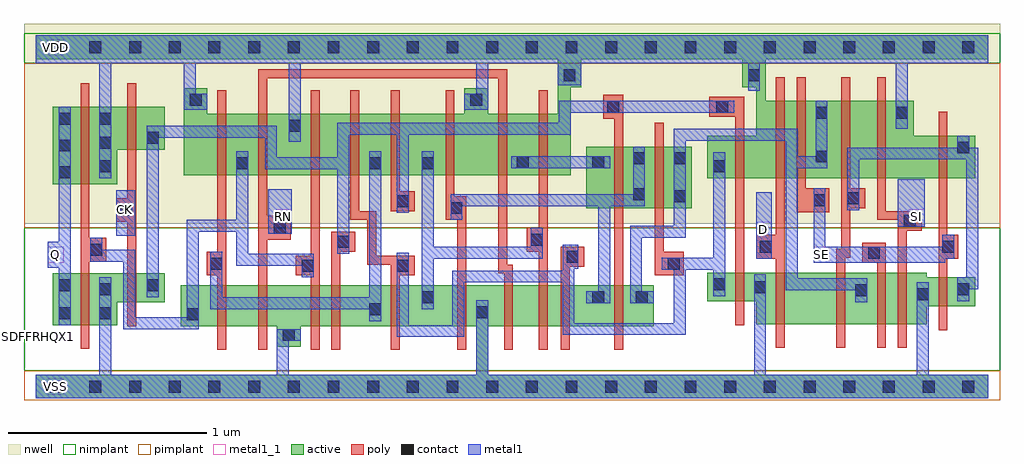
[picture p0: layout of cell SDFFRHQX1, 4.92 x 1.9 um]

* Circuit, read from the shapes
.subckt SDFFRHQX1 CK D Q RN SE SI VDD VSS
M1 VSS n1 Q VSS nfet w=0.26u l=0.045u
M2 n2 CK VSS VSS nfet w=0.145u l=0.045u
M3 n3 n4 n1 VSS nfet w=0.205u l=0.045u
M4 VSS RN n3 VSS nfet w=0.205u l=0.045u
M5 n5 n1 VSS VSS nfet w=0.205u l=0.045u
M6 n4 n2 n5 VSS nfet w=0.205u l=0.045u
M7 n6 n7 n4 VSS nfet w=0.205u l=0.045u
M8 VSS n8 n6 VSS nfet w=0.205u l=0.045u
M9 n9 RN VSS VSS nfet w=0.205u l=0.045u
M10 n10 n6 n9 VSS nfet w=0.205u l=0.045u
M11 n8 n7 n10 VSS nfet w=0.205u l=0.045u
M12 n11 n2 n8 VSS nfet w=0.205u l=0.045u
M13 VSS n2 n7 VSS nfet w=0.145u l=0.045u
M14 n12 D VSS VSS nfet w=0.26u l=0.045u
M15 n11 n13 n12 VSS nfet w=0.26u l=0.045u
M16 n14 SE n11 VSS nfet w=0.26u l=0.045u
M17 VSS SI n14 VSS nfet w=0.26u l=0.045u
M18 n13 SE VSS VSS nfet w=0.145u l=0.045u
M19 VDD n1 Q VDD pfet w=0.39u l=0.045u
M20 n2 CK VDD VDD pfet w=0.215u l=0.045u
M21 n1 n4 VDD VDD pfet w=0.31u l=0.045u
M22 VDD RN n1 VDD pfet w=0.31u l=0.045u
M23 n15 n1 VDD VDD pfet w=0.31u l=0.045u
M24 n4 n7 n15 VDD pfet w=0.31u l=0.045u
M25 n6 n2 n4 VDD pfet w=0.31u l=0.045u
M26 VDD n8 n6 VDD pfet w=0.31u l=0.045u
M27 n16 RN VDD VDD pfet w=0.31u l=0.045u
M28 VDD n6 n16 VDD pfet w=0.31u l=0.045u
M29 n8 n2 n16 VDD pfet w=0.31u l=0.045u
M30 n11 n7 n8 VDD pfet w=0.31u l=0.045u
M31 VDD n2 n7 VDD pfet w=0.215u l=0.045u
M32 n17 D VDD VDD pfet w=0.39u l=0.045u
M33 n11 SE n17 VDD pfet w=0.39u l=0.045u
M34 n18 n13 n11 VDD pfet w=0.39u l=0.045u
M35 VDD SI n18 VDD pfet w=0.39u l=0.045u
M36 n13 SE VDD VDD pfet w=0.215u l=0.045u
.ends

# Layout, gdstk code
import gdstk
lib = gdstk.Library(unit=1e-6, precision=5e-10)
def R(c, l, rs):  # rectangles x0, y0, x1, y1
    for r in rs: c.add(gdstk.rectangle(r[:2], r[2:], *l))
def A(c, l, x, y, w, h, nx, ny, dx, dy):  # array of equal rectangles
    R(c, l, [(x+i*dx, y+j*dy, x+i*dx+w, y+j*dy+h) for i in range(nx) for j in range(ny)])
def P(c, l, *ps):  # polygons
    for p in ps: c.add(gdstk.Polygon(p, *l))
active = (1, 0)
nwell = (2, 0)
poly = (3, 0)
nimplant = (4, 0)
pimplant = (5, 0)
contact = (6, 0)
metal1 = (7, 0)
metal1_1 = (7, 1)

sdffrhqx1 = lib.new_cell('SDFFRHQX1')
R(sdffrhqx1, active, [(2.775,0.9,3.305,1.21)])
P(sdffrhqx1, active, [(4.8,0.06),(2.28,0.06),(2.28,0.305),(3.115,0.305),(3.115,0.51),(0.73,0.51),(0.73,0.305),(1.215,0.305),(1.215,0.2),(1.335,0.2),(1.335,0.305),(2.22,0.305),(2.22,0.06),(0,0.06),(0,-0.06),(4.8,-0.06)],
  [(4.8,1.77),(0,1.77),(0,1.65),(2.63,1.65),(2.63,1.375),(2.28,1.375),(2.28,1.505),(2.16,1.505),(2.16,1.375),(0.865,1.375),(0.865,1.505),(0.745,1.505),(0.745,1.065),(2.695,1.065),(2.695,1.51),(2.75,1.51),(2.75,1.65),(3.56,1.65),(3.56,1.51),(3.63,1.51),(3.63,1.265),(3.385,1.265),(3.385,1.05),(4.735,1.05),(4.735,1.265),(4.425,1.265),(4.425,1.44),(3.68,1.44),(3.68,1.65),(4.8,1.65)],
  [(4.735,0.55),(4.49,0.55),(4.49,0.575),(3.385,0.575),(3.385,0.43),(3.63,0.43),(3.63,0.315),(4.49,0.315),(4.49,0.405),(4.735,0.405)],
  [(0.65,0.57),(0.085,0.57),(0.085,0.31),(0.41,0.31),(0.41,0.425),(0.65,0.425)],
  [(0.65,1.41),(0.085,1.41),(0.085,1.02),(0.41,1.02),(0.41,1.195),(0.65,1.195)])
R(sdffrhqx1, nwell, [(-0.06,0.82,4.86,1.83)])
P(sdffrhqx1, poly, [(4.465,0.885),(4.285,0.885),(4.285,1.56),(4.24,1.56),(4.24,0.84),(4.345,0.84),(4.345,0.195),(4.39,0.195),(4.39,0.785),(4.465,0.785)],
  [(4,1),(3.88,1),(3.88,1.56),(3.835,1.56),(3.835,0.88),(4,0.88)],
  [(3.775,1.56),(3.73,1.56),(3.73,0.765),(3.63,0.765),(3.63,0.645),(3.73,0.645),(3.73,0.195),(3.775,0.195)],
  [(4.18,1),(4.105,1),(4.105,1.56),(4.06,1.56),(4.06,0.695),(4.035,0.695),(4.035,0.195),(4.08,0.195),(4.08,0.65),(4.105,0.65),(4.105,0.9),(4.18,0.9)],
  [(3.57,1.46),(3.395,1.46),(3.395,1.36),(3.525,1.36),(3.525,0.31),(3.57,0.31)],
  [(3.265,0.68),(3.165,0.68),(3.165,1.33),(3.12,1.33),(3.12,0.56),(3.265,0.56)],
  [(2.96,1.47),(2.86,1.47),(2.86,1.35),(2.915,1.35),(2.915,0.185),(2.96,0.185)],
  [(4.65,0.765),(4.595,0.765),(4.595,1.385),(4.55,1.385),(4.55,0.285),(4.595,0.285),(4.595,0.645),(4.65,0.645)],
  [(4.285,0.725),(4.165,0.725),(4.165,0.625),(4.24,0.625),(4.24,0.195),(4.285,0.195)],
  [(2.765,0.705),(2.645,0.705),(2.645,0.185),(2.69,0.185),(2.69,0.605),(2.765,0.605)],
  [(2.58,1.495),(2.535,1.495),(2.535,0.8),(2.475,0.8),(2.475,0.68),(2.535,0.68),(2.535,0.185),(2.58,0.185)],
  [(2.405,0.615),(2.375,0.615),(2.375,1.6),(1.12,1.6),(1.12,0.185),(1.165,0.185),(1.165,0.74),(1.285,0.74),(1.285,0.86),(1.165,0.86),(1.165,1.555),(2.33,1.555),(2.33,0.57),(2.36,0.57),(2.36,0.185),(2.405,0.185)],
  [(2.17,0.96),(2.11,0.96),(2.11,1.495),(2.065,1.495),(2.065,0.84),(2.125,0.84),(2.125,0.185),(2.17,0.185)],
  [(1.91,0.66),(1.715,0.66),(1.715,0.885),(1.63,0.885),(1.63,1.495),(1.585,1.495),(1.585,0.84),(1.67,0.84),(1.67,0.615),(1.79,0.615),(1.79,0.185),(1.835,0.185),(1.835,0.56),(1.91,0.56)],
  [(1.91,0.985),(1.835,0.985),(1.835,1.495),(1.79,1.495),(1.79,0.885),(1.91,0.885)],
  [(1.61,0.78),(1.49,0.78),(1.49,0.185),(1.535,0.185),(1.535,0.68),(1.61,0.68)],
  [(1.43,1.495),(1.385,1.495),(1.385,0.66),(1.31,0.66),(1.31,0.56),(1.385,0.56),(1.385,0.185),(1.43,0.185)],
  [(0.96,1.495),(0.915,1.495),(0.915,0.68),(0.86,0.68),(0.86,0.56),(0.915,0.56),(0.915,0.185),(0.96,0.185)],
  [(0.505,1.53),(0.46,1.53),(0.46,0.95),(0.405,0.95),(0.405,0.83),(0.46,0.83),(0.46,0.305),(0.505,0.305)],
  [(0.355,0.75),(0.27,0.75),(0.27,1.53),(0.225,1.53),(0.225,0.19),(0.27,0.19),(0.27,0.63),(0.355,0.63)])
R(sdffrhqx1, nimplant, [(-0.06,0.08,4.86,0.8), (-0.06,1.63,4.86,1.78)])
R(sdffrhqx1, pimplant, [(-0.06,-0.07,4.86,0.08), (-0.06,0.8,4.86,1.63)])
A(sdffrhqx1, contact, 0.07, -0.03, 0.06, 0.06, 24, 2, 0.2, 1.71)
A(sdffrhqx1, contact, 0.115, 1.05, 0.06, 0.06, 1, 3, 0, 0.135)
A(sdffrhqx1, contact, 0.32, 1.08, 0.06, 0.06, 1, 3, 0, 0.12)
R(sdffrhqx1, contact, [(1.245,0.23,1.305,0.29), (0.76,0.335,0.82,0.395), (0.115,0.34,0.175,0.4), (0.32,0.34,0.38,0.4), (2.22,0.345,2.28,0.405), (1.68,0.36,1.74,0.42), (1.945,0.42,2.005,0.48), (2.805,0.42,2.865,0.48), (3.025,0.42,3.085,0.48), (4.44,0.435,4.5,0.495), (4.13,0.455,4.19,0.515), (0.32,0.46,0.38,0.52), (4.645,0.46,4.705,0.52), (3.62,0.47,3.68,0.53), (0.115,0.48,0.175,0.54), (0.56,0.48,0.62,0.54), (3.415,0.485,3.475,0.545), (1.34,0.58,1.4,0.64), (1.82,0.58,1.88,0.64), (0.88,0.59,0.94,0.65), (3.185,0.59,3.245,0.65), (2.675,0.625,2.735,0.685), (4.195,0.645,4.255,0.705), (0.275,0.66,0.335,0.72), (3.65,0.675,3.71,0.735), (4.57,0.675,4.63,0.735), (1.52,0.7,1.58,0.76), (2.495,0.71,2.555,0.77), (1.2,0.77,1.26,0.83), (4.375,0.805,4.435,0.865), (0.425,0.86,0.485,0.92), (2.09,0.87,2.15,0.93), (1.82,0.905,1.88,0.965), (3.92,0.91,3.98,0.97), (4.09,0.92,4.15,0.98), (3.215,0.93,3.275,0.99), (3.01,0.94,3.07,1), (3.415,1.08,3.475,1.14), (1.01,1.095,1.07,1.155), (1.68,1.095,1.74,1.155), (1.945,1.095,2.005,1.155), (2.425,1.1,2.485,1.16), (2.805,1.1,2.865,1.16), (3.01,1.12,3.07,1.18), (3.215,1.12,3.275,1.18), (3.93,1.13,3.99,1.19), (4.645,1.175,4.705,1.235), (0.56,1.225,0.62,1.285), (1.275,1.285,1.335,1.345), (3.93,1.35,3.99,1.41), (4.335,1.35,4.395,1.41), (2.88,1.38,2.94,1.44), (3.43,1.38,3.49,1.44), (0.775,1.415,0.835,1.475), (2.19,1.415,2.25,1.475), (2.66,1.54,2.72,1.6), (3.59,1.54,3.65,1.6)])
R(sdffrhqx1, metal1, [(3.63,0.645,3.71,0.98), (0.405,0.76,0.5,0.99), (1.17,0.77,1.29,0.995), (4.345,0.805,4.48,1.045), (2.395,1.1,2.895,1.16)])
P(sdffrhqx1, metal1, [(4.8,1.77),(0,1.77),(0,1.63),(0.32,1.63),(0.32,1.05),(0.38,1.05),(0.38,1.63),(0.745,1.63),(0.745,1.395),(0.865,1.395),(0.865,1.475),(0.805,1.475),(0.805,1.63),(1.275,1.63),(1.275,1.235),(1.335,1.235),(1.335,1.63),(2.22,1.63),(2.22,1.475),(2.16,1.475),(2.16,1.395),(2.28,1.395),(2.28,1.63),(2.63,1.63),(2.63,1.52),(2.75,1.52),(2.75,1.63),(3.59,1.63),(3.59,1.49),(3.65,1.49),(3.65,1.63),(4.335,1.63),(4.335,1.3),(4.395,1.3),(4.395,1.63),(4.8,1.63)],
  [(4.75,1.205),(4.705,1.205),(4.705,1.265),(4.645,1.265),(4.645,1.205),(4.09,1.205),(4.09,0.89),(4.15,0.89),(4.15,1.145),(4.69,1.145),(4.69,0.55),(4.645,0.55),(4.645,0.43),(4.705,0.43),(4.705,0.49),(4.75,0.49)],
  [(4.8,0.06),(4.5,0.06),(4.5,0.525),(4.44,0.525),(4.44,0.06),(3.68,0.06),(3.68,0.565),(3.62,0.565),(3.62,0.06),(2.28,0.06),(2.28,0.435),(2.22,0.435),(2.22,0.06),(1.275,0.06),(1.275,0.23),(1.335,0.23),(1.335,0.29),(1.215,0.29),(1.215,0.06),(0.38,0.06),(0.38,0.55),(0.32,0.55),(0.32,0.06),(0,0.06),(0,-0.06),(4.8,-0.06)],
  [(4.63,0.765),(4.57,0.765),(4.57,0.705),(3.98,0.705),(3.98,1),(3.92,1),(3.92,0.625),(4.585,0.625),(4.585,0.645),(4.63,0.645)],
  [(4.19,0.545),(3.84,0.545),(3.84,1.1),(3.99,1.1),(3.99,1.44),(3.93,1.44),(3.93,1.16),(3.84,1.16),(3.84,1.3),(3.215,1.3),(3.215,0.81),(2.995,0.81),(2.995,0.42),(3.115,0.42),(3.115,0.48),(3.055,0.48),(3.055,0.75),(3.275,0.75),(3.275,1.24),(3.78,1.24),(3.78,0.485),(4.13,0.485),(4.13,0.425),(4.19,0.425)],
  [(3.52,1.44),(2.635,1.44),(2.635,1.33),(1.52,1.33),(1.52,1.155),(1.215,1.155),(1.215,1.315),(0.56,1.315),(0.56,0.45),(0.62,0.45),(0.62,1.255),(1.155,1.255),(1.155,1.095),(1.52,1.095),(1.52,0.67),(1.58,0.67),(1.58,1.27),(1.82,1.27),(1.82,0.875),(1.88,0.875),(1.88,1.27),(2.695,1.27),(2.695,1.38),(3.52,1.38)],
  [(3.475,1.18),(3.415,1.18),(3.415,0.65),(3.155,0.65),(3.155,0.59),(3.215,0.59),(3.215,0.32),(2.715,0.32),(2.715,0.595),(2.735,0.595),(2.735,0.715),(2.655,0.715),(2.655,0.585),(2.1,0.585),(2.1,0.31),(1.88,0.31),(1.88,0.675),(1.82,0.675),(1.82,0.25),(2.16,0.25),(2.16,0.525),(2.655,0.525),(2.655,0.26),(3.275,0.26),(3.275,0.59),(3.415,0.59),(3.415,0.455),(3.475,0.455)],
  [(3.07,1.21),(3.01,1.21),(3.01,0.97),(2.09,0.97),(2.09,0.84),(2.15,0.84),(2.15,0.91),(2.835,0.91),(2.835,0.48),(2.775,0.48),(2.775,0.42),(2.895,0.42),(2.895,0.91),(3.07,0.91)],
  [(2.555,0.8),(2.495,0.8),(2.495,0.705),(2.005,0.705),(2.005,1.185),(1.945,1.185),(1.945,0.39),(2.005,0.39),(2.005,0.645),(2.555,0.645)],
  [(1.74,1.185),(1.68,1.185),(1.68,0.45),(0.94,0.45),(0.94,0.68),(0.88,0.68),(0.88,0.39),(1.68,0.39),(1.68,0.33),(1.74,0.33)],
  [(1.4,0.67),(1.07,0.67),(1.07,1.185),(1.01,1.185),(1.01,0.84),(0.76,0.84),(0.76,0.35),(0.5,0.35),(0.5,0.69),(0.335,0.69),(0.335,0.75),(0.275,0.75),(0.275,0.63),(0.44,0.63),(0.44,0.29),(0.82,0.29),(0.82,0.78),(1.01,0.78),(1.01,0.61),(1.34,0.61),(1.34,0.55),(1.4,0.55)],
  [(0.175,1.41),(0.115,1.41),(0.115,0.73),(0.06,0.73),(0.06,0.6),(0.115,0.6),(0.115,0.31),(0.175,0.31)])
R(sdffrhqx1, metal1_1, [(0.06,-0.04,0.14,0.04), (0.06,0.625,0.14,0.705), (3.92,0.625,4,0.705), (3.63,0.75,3.71,0.83), (1.21,0.815,1.29,0.895), (4.4,0.815,4.48,0.895), (0.405,0.855,0.485,0.935), (0.06,1.67,0.14,1.75)])
sdffrhqx1.add(gdstk.Label('VSS', (0.1,0), layer=7, texttype=1))
sdffrhqx1.add(gdstk.Label('Q', (0.1,0.665), layer=7, texttype=1))
sdffrhqx1.add(gdstk.Label('SE', (3.96,0.665), layer=7, texttype=1))
sdffrhqx1.add(gdstk.Label('SI', (4.44,0.855), layer=7, texttype=1))
sdffrhqx1.add(gdstk.Label('D', (3.67,0.79), layer=7, texttype=1))
sdffrhqx1.add(gdstk.Label('RN', (1.25,0.855), layer=7, texttype=1))
sdffrhqx1.add(gdstk.Label('CK', (0.445,0.895), layer=7, texttype=1))
sdffrhqx1.add(gdstk.Label('VDD', (0.1,1.71), layer=7, texttype=1))
sdffrhqx1.add(gdstk.Label('SDFFRHQX1', (0,0.25), layer=63, texttype=0))

lib.write_gds('SDFFRHQX1.gds')
